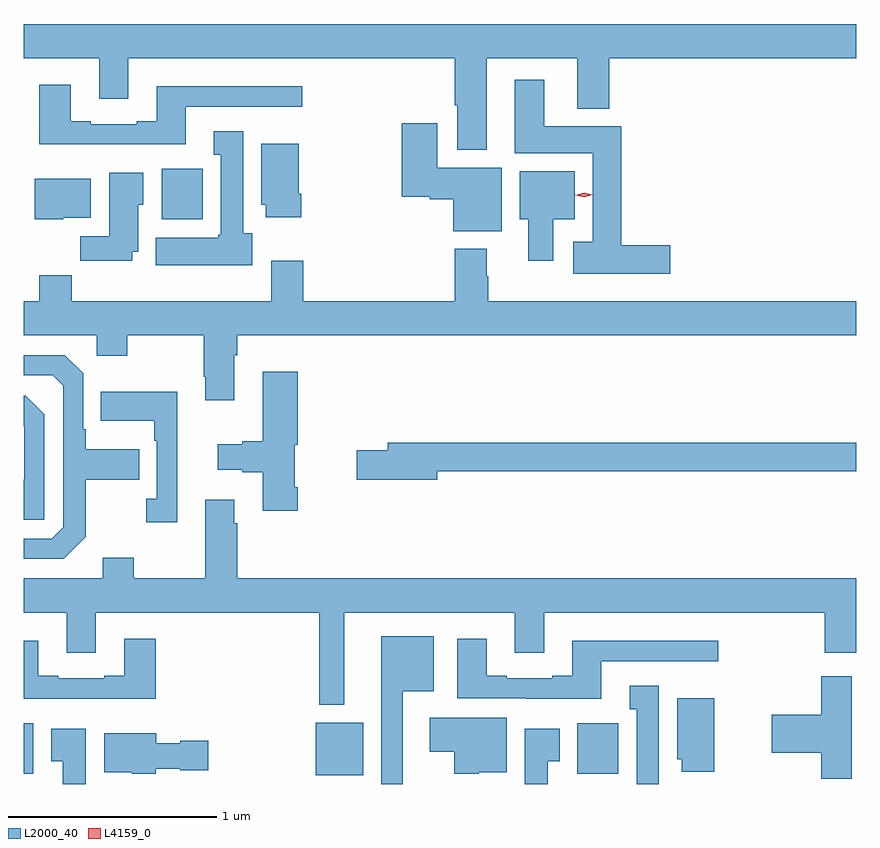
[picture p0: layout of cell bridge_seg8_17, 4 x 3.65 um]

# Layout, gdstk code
import gdstk
lib = gdstk.Library(unit=1e-6, precision=1e-09)
def R(c, l, rs):  # rectangles x0, y0, x1, y1
    for r in rs: c.add(gdstk.rectangle(r[:2], r[2:], *l))
def P(c, l, *ps):  # polygons
    for p in ps: c.add(gdstk.Polygon(p, *l))
L2000_40 = (2000, 40)
L4159_0 = (4159, 0)

bridge_seg8_17 = lib.new_cell('bridge_seg8_17')
R(bridge_seg8_17, L2000_40, [(903.29,1139.693,903.517,1139.947), (901.887,1139.702,901.933,1139.944), (904.547,1139.702,904.744,1139.944), (902.549,1142.366,902.746,1142.608)])
P(bridge_seg8_17, L2000_40, [(904.111,1143.14),(904.547,1143.14),(904.547,1142.897),(904.7,1142.897),(904.7,1143.14),(905.887,1143.14),(905.887,1143.304),(901.887,1143.304),(901.887,1143.14),(902.249,1143.14),(902.249,1142.946),(902.389,1142.946),(902.389,1143.14),(903.959,1143.14),(903.959,1142.914),(903.971,1142.914),(903.971,1142.699),(904.111,1142.699)],
  [(904.993,1142.24),(904.757,1142.24),(904.757,1142.812),(904.387,1142.812),(904.387,1143.037),(904.247,1143.037),(904.247,1142.684),(904.622,1142.684),(904.622,1142.257),(904.527,1142.257),(904.527,1142.105),(904.993,1142.105)],
  [(902.665,1142.907),(903.226,1142.907),(903.226,1143.004),(902.525,1143.004),(902.525,1142.836),(902.429,1142.836),(902.429,1142.823),(902.209,1142.823),(902.209,1142.836),(902.113,1142.836),(902.113,1143.013),(901.961,1143.013),(901.961,1142.726),(902.665,1142.726)],
  [(904.183,1142.614),(903.874,1142.614),(903.874,1142.827),(903.704,1142.827),(903.704,1142.474),(903.837,1142.474),(903.837,1142.462),(903.95,1142.462),(903.95,1142.309),(904.183,1142.309)],
  [(902.986,1142.298),(902.941,1142.298),(902.941,1142.788),(902.801,1142.788),(902.801,1142.675),(902.834,1142.675),(902.834,1142.292),(902.821,1142.292),(902.821,1142.278),(902.522,1142.278),(902.522,1142.144),(902.986,1142.144)],
  [(903.221,1142.488),(903.208,1142.488),(903.208,1142.728),(903.029,1142.728),(903.029,1142.436),(903.05,1142.436),(903.05,1142.376),(903.221,1142.376)],
  [(904.432,1142.366),(904.534,1142.366),(904.534,1142.596),(904.271,1142.596),(904.271,1142.366),(904.31,1142.366),(904.31,1142.166),(904.432,1142.166)],
  [(902.407,1142.21),(902.437,1142.21),(902.437,1142.436),(902.461,1142.436),(902.461,1142.59),(902.297,1142.59),(902.297,1142.284),(902.158,1142.284),(902.158,1142.166),(902.407,1142.166)],
  [(902.076,1142.372),(902.209,1142.372),(902.209,1142.56),(901.94,1142.56),(901.94,1142.366),(902.076,1142.366)],
  [(902.899,1141.712),(902.912,1141.712),(902.912,1141.808),(905.887,1141.808),(905.887,1141.972),(904.119,1141.972),(904.119,1142.093),(904.111,1142.093),(904.111,1142.224),(903.959,1142.224),(903.959,1141.972),(903.23,1141.972),(903.23,1142.167),(903.077,1142.167),(903.077,1141.972),(902.117,1141.972),(902.117,1142.096),(901.961,1142.096),(901.961,1141.972),(901.887,1141.972),(901.887,1141.808),(902.238,1141.808),(902.238,1141.709),(902.385,1141.709),(902.385,1141.808),(902.752,1141.808),(902.752,1141.609),(902.759,1141.609),(902.759,1141.497),(902.899,1141.497)],
  [(902.185,1140.841),(902.185,1141.114),(902.441,1141.114),(902.441,1141.261),(902.185,1141.261),(902.185,1141.357),(902.172,1141.357),(902.172,1141.626),(902.085,1141.713),(901.887,1141.713),(901.887,1141.617),(902.025,1141.617),(902.076,1141.566),(902.076,1140.885),(902.022,1140.831),(901.887,1140.831),(901.887,1140.735),(902.079,1140.735)],
  [(903.203,1141.078),(903.19,1141.078),(903.19,1141.281),(903.203,1141.281),(903.203,1141.633),(903.035,1141.633),(903.035,1141.298),(902.936,1141.298),(902.936,1141.285),(902.82,1141.285),(902.82,1141.163),(902.936,1141.163),(902.936,1141.151),(903.035,1141.151),(903.035,1140.966),(903.203,1140.966)],
  [(902.624,1141.537),(902.257,1141.537),(902.257,1141.397),(902.514,1141.397),(902.514,1141.301),(902.526,1141.301),(902.526,1141.022),(902.475,1141.022),(902.475,1140.909),(902.624,1140.909)],
  [(901.986,1141.428),(901.896,1141.518),(901.887,1141.518),(901.887,1141.371),(901.89,1141.368),(901.89,1141.114),(901.887,1141.114),(901.887,1140.921),(901.986,1140.921)],
  [(903.874,1141.156),(905.887,1141.156),(905.887,1141.292),(903.635,1141.292),(903.635,1141.256),(903.486,1141.256),(903.486,1141.114),(903.874,1141.114)],
  [(901.887,1140.476),(902.093,1140.476),(902.093,1140.282),(902.233,1140.282),(902.233,1140.476),(903.306,1140.476),(903.306,1140.032),(903.427,1140.032),(903.427,1140.476),(904.247,1140.476),(904.247,1140.282),(904.387,1140.282),(904.387,1140.476),(905.735,1140.476),(905.735,1140.282),(905.887,1140.282),(905.887,1140.64),(902.912,1140.64),(902.912,1140.905),(902.899,1140.905),(902.899,1141.018),(902.759,1141.018),(902.759,1140.64),(902.415,1140.64),(902.415,1140.739),(902.267,1140.739),(902.267,1140.64),(901.887,1140.64)],
  [(903.709,1140.098),(903.856,1140.098),(903.856,1140.361),(903.605,1140.361),(903.605,1139.652),(903.709,1139.652)],
  [(904.663,1140.243),(905.224,1140.243),(905.224,1140.34),(904.523,1140.34),(904.523,1140.172),(904.427,1140.172),(904.427,1140.159),(904.207,1140.159),(904.207,1140.172),(904.111,1140.172),(904.111,1140.349),(903.971,1140.349),(903.971,1140.063),(904.299,1140.063),(904.299,1140.062),(904.663,1140.062)],
  [(902.522,1140.349),(902.369,1140.349),(902.369,1140.172),(902.273,1140.172),(902.273,1140.159),(902.053,1140.159),(902.053,1140.172),(901.957,1140.172),(901.957,1140.34),(901.887,1140.34),(901.887,1140.062),(902.522,1140.062)],
  [(905.866,1140.169),(905.72,1140.169),(905.72,1139.984),(905.481,1139.984),(905.481,1139.801),(905.72,1139.801),(905.72,1139.677),(905.866,1139.677)],
  [(904.939,1140.124),(904.799,1140.124),(904.799,1140.011),(904.832,1140.011),(904.832,1139.652),(904.939,1139.652)],
  [(905.206,1140.064),(905.027,1140.064),(905.027,1139.772),(905.048,1139.772),(905.048,1139.712),(905.206,1139.712)],
  [(904.074,1139.708),(904.207,1139.708),(904.207,1139.971),(903.837,1139.971),(903.837,1139.806),(903.956,1139.806),(903.956,1139.702),(904.074,1139.702)],
  [(904.405,1139.761),(904.462,1139.761),(904.462,1139.917),(904.295,1139.917),(904.295,1139.652),(904.405,1139.652)],
  [(902.185,1139.917),(902.018,1139.917),(902.018,1139.761),(902.075,1139.761),(902.075,1139.652),(902.185,1139.652)],
  [(902.52,1139.726),(902.64,1139.726),(902.64,1139.719),(902.773,1139.719),(902.773,1139.861),(902.64,1139.861),(902.64,1139.848),(902.524,1139.848),(902.524,1139.896),(902.273,1139.896),(902.273,1139.708),(902.406,1139.708),(902.406,1139.702),(902.52,1139.702)])
P(bridge_seg8_17, L4159_0, [(904.579,1142.472),(904.538,1142.482),(904.538,1142.482),(904.538,1142.482),(904.579,1142.492),(904.619,1142.483),(904.62,1142.483),(904.619,1142.483)])

lib.write_gds('bridge_seg8_17.gds')
